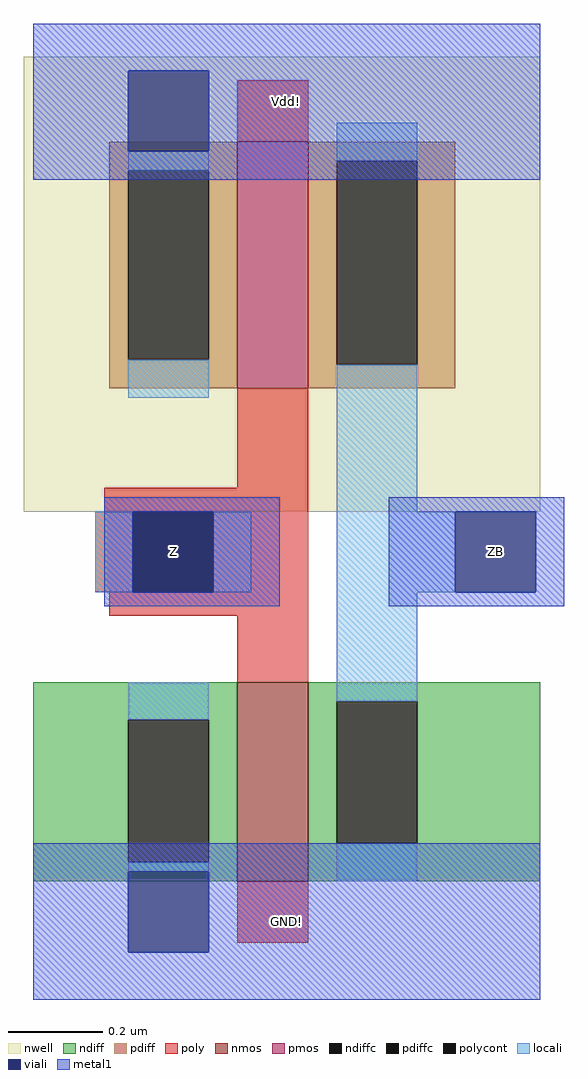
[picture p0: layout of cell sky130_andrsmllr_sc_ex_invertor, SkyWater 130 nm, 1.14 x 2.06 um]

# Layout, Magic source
magic
tech sky130A
<< nwell >>
rect -2 103 107 199
<< nmos >>
rect 43 25 58 67
<< pmos >>
rect 43 129 58 181
<< ndiff >>
rect 0 59 43 67
rect 0 29 20 59
rect 37 29 43 59
rect 0 25 43 29
rect 58 63 107 67
rect 58 33 64 63
rect 81 33 107 63
rect 58 25 107 33
<< pdiff >>
rect 16 175 43 181
rect 16 135 20 175
rect 37 135 43 175
rect 16 129 43 135
rect 58 177 89 181
rect 58 134 64 177
rect 81 134 89 177
rect 58 129 89 134
<< ndiffc >>
rect 20 29 37 59
rect 64 33 81 63
<< pdiffc >>
rect 20 135 37 175
rect 64 134 81 177
<< poly >>
rect 43 181 58 194
rect 43 108 58 129
rect 15 103 58 108
rect 13 86 21 103
rect 38 86 58 103
rect 16 81 58 86
rect 43 67 58 81
rect 43 12 58 25
<< polycont >>
rect 21 86 38 103
<< locali >>
rect 20 175 37 179
rect 20 127 37 135
rect 64 177 81 185
rect 64 103 81 134
rect 13 86 21 103
rect 38 86 46 103
rect 64 86 89 103
rect 20 59 37 67
rect 20 27 37 29
rect 64 63 81 86
rect 64 25 81 33
<< viali >>
rect 20 179 37 196
rect 21 86 38 103
rect 89 86 106 103
rect 20 10 37 27
<< metal1 >>
rect 0 196 107 206
rect 0 179 20 196
rect 37 179 107 196
rect 0 173 107 179
rect 15 103 52 106
rect 15 86 21 103
rect 38 86 52 103
rect 15 83 52 86
rect 75 103 112 106
rect 75 86 89 103
rect 106 86 112 103
rect 75 83 112 86
rect 0 27 107 33
rect 0 10 20 27
rect 37 10 107 27
rect 0 0 107 10
<< labels >>
rlabel space 83 80 112 109 0 ZB
rlabel metal1 0 173 107 206 0 Vdd!
rlabel metal1 0 0 107 33 0 GND!
rlabel space 15 80 44 109 0 Z
<< end >>
